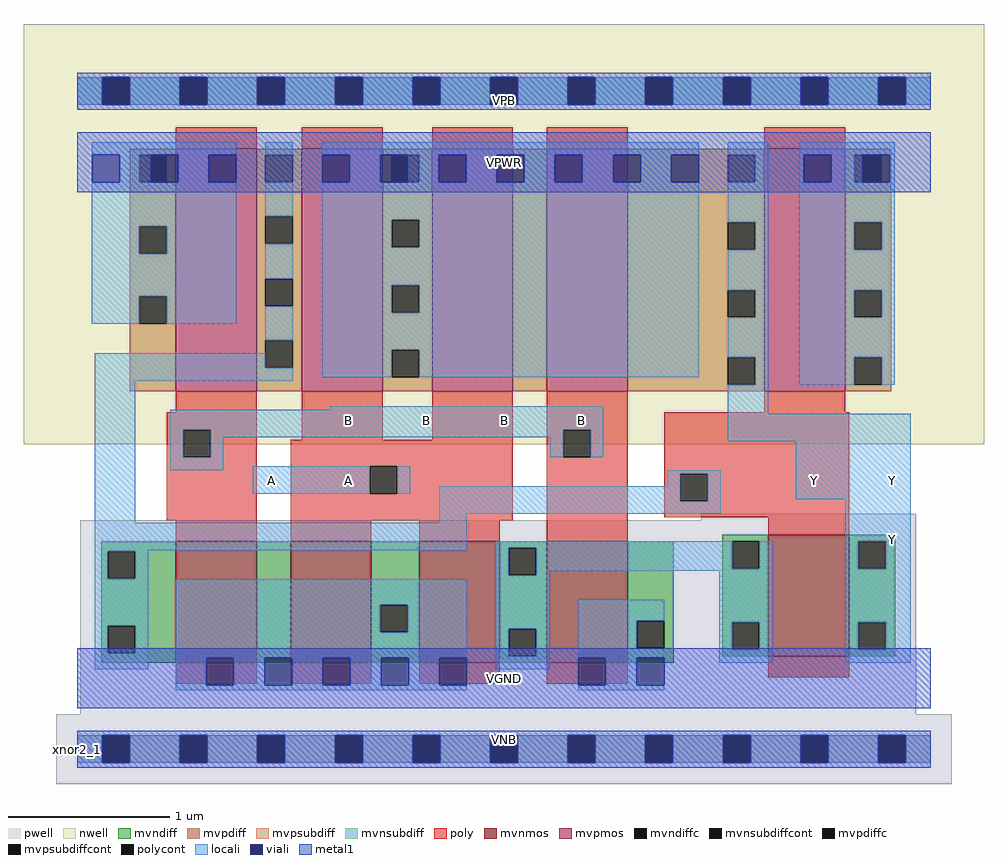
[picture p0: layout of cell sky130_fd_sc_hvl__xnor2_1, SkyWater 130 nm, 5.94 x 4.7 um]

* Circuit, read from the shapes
.subckt sky130_fd_sc_hvl__xnor2_1 A B VGND VNB VPB VPWR Y
XM1 n1 B n2 VNB sky130_fd_pr__nfet_g5v0d10v5 w=0.75 l=0.5
XM2 VGND A n1 VNB sky130_fd_pr__nfet_g5v0d10v5 w=0.75 l=0.5
XM3 n3 A VGND VNB sky130_fd_pr__nfet_g5v0d10v5 w=0.75 l=0.5
XM4 VGND B n3 VNB sky130_fd_pr__nfet_g5v0d10v5 w=0.75 l=0.5
XM5 Y n2 n3 VNB sky130_fd_pr__nfet_g5v0d10v5 w=0.75 l=0.5
XM6 n2 B VPWR VPB sky130_fd_pr__pfet_g5v0d10v5 w=1.5 l=0.5
XM7 VPWR A n2 VPB sky130_fd_pr__pfet_g5v0d10v5 w=1.5 l=0.5
XM8 n4 A VPWR VPB sky130_fd_pr__pfet_g5v0d10v5 w=1.5 l=0.5
XM9 Y B n4 VPB sky130_fd_pr__pfet_g5v0d10v5 w=1.5 l=0.5
XM10 VPWR n2 Y VPB sky130_fd_pr__pfet_g5v0d10v5 w=1.5 l=0.5
.ends

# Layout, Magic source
magic
tech sky130A
magscale 1 2
<< nwell >>
rect -66 377 1122 897
<< pwell >>
rect 772 283 1038 291
rect 4 43 1038 283
rect -26 -43 1082 43
<< mvnmos >>
rect 122 107 222 257
rect 264 107 364 257
rect 423 107 523 257
rect 581 107 681 257
rect 855 115 955 265
<< mvpmos >>
rect 122 443 222 743
rect 278 443 378 743
rect 439 443 539 743
rect 581 443 681 743
rect 850 443 950 743
<< mvndiff >>
rect 798 257 855 265
rect 30 245 122 257
rect 30 211 38 245
rect 72 211 122 245
rect 30 153 122 211
rect 30 119 38 153
rect 72 119 122 153
rect 30 107 122 119
rect 222 107 264 257
rect 364 179 423 257
rect 364 145 375 179
rect 409 145 423 179
rect 364 107 423 145
rect 523 249 581 257
rect 523 215 534 249
rect 568 215 581 249
rect 523 149 581 215
rect 523 115 534 149
rect 568 115 581 149
rect 523 107 581 115
rect 681 159 738 257
rect 681 125 692 159
rect 726 125 738 159
rect 681 107 738 125
rect 798 223 810 257
rect 844 223 855 257
rect 798 157 855 223
rect 798 123 810 157
rect 844 123 855 157
rect 798 115 855 123
rect 955 257 1012 265
rect 955 223 966 257
rect 1000 223 1012 257
rect 955 157 1012 223
rect 955 123 966 157
rect 1000 123 1012 157
rect 955 115 1012 123
<< mvpdiff >>
rect 65 735 122 743
rect 65 701 77 735
rect 111 701 122 735
rect 65 647 122 701
rect 65 613 77 647
rect 111 613 122 647
rect 65 560 122 613
rect 65 526 77 560
rect 111 526 122 560
rect 65 443 122 526
rect 222 735 278 743
rect 222 701 233 735
rect 267 701 278 735
rect 222 659 278 701
rect 222 625 233 659
rect 267 625 278 659
rect 222 582 278 625
rect 222 548 233 582
rect 267 548 278 582
rect 222 506 278 548
rect 222 472 233 506
rect 267 472 278 506
rect 222 443 278 472
rect 378 735 439 743
rect 378 701 389 735
rect 423 701 439 735
rect 378 655 439 701
rect 378 621 389 655
rect 423 621 439 655
rect 378 574 439 621
rect 378 540 389 574
rect 423 540 439 574
rect 378 494 439 540
rect 378 460 389 494
rect 423 460 439 494
rect 378 443 439 460
rect 539 443 581 743
rect 681 735 850 743
rect 681 701 805 735
rect 839 701 850 735
rect 681 652 850 701
rect 681 618 805 652
rect 839 618 850 652
rect 681 568 850 618
rect 681 534 805 568
rect 839 534 850 568
rect 681 485 850 534
rect 681 451 805 485
rect 839 451 850 485
rect 681 443 850 451
rect 950 735 1007 743
rect 950 701 961 735
rect 995 701 1007 735
rect 950 652 1007 701
rect 950 618 961 652
rect 995 618 1007 652
rect 950 568 1007 618
rect 950 534 961 568
rect 995 534 1007 568
rect 950 485 1007 534
rect 950 451 961 485
rect 995 451 1007 485
rect 950 443 1007 451
<< mvndiffc >>
rect 38 211 72 245
rect 38 119 72 153
rect 375 145 409 179
rect 534 215 568 249
rect 534 115 568 149
rect 692 125 726 159
rect 810 223 844 257
rect 810 123 844 157
rect 966 223 1000 257
rect 966 123 1000 157
<< mvpdiffc >>
rect 77 701 111 735
rect 77 613 111 647
rect 77 526 111 560
rect 233 701 267 735
rect 233 625 267 659
rect 233 548 267 582
rect 233 472 267 506
rect 389 701 423 735
rect 389 621 423 655
rect 389 540 423 574
rect 389 460 423 494
rect 805 701 839 735
rect 805 618 839 652
rect 805 534 839 568
rect 805 451 839 485
rect 961 701 995 735
rect 961 618 995 652
rect 961 534 995 568
rect 961 451 995 485
<< mvpsubdiff >>
rect 0 -17 31 17
rect 65 -17 127 17
rect 161 -17 223 17
rect 257 -17 319 17
rect 353 -17 415 17
rect 449 -17 511 17
rect 545 -17 607 17
rect 641 -17 703 17
rect 737 -17 799 17
rect 833 -17 895 17
rect 929 -17 991 17
rect 1025 -17 1056 17
<< mvnsubdiff >>
rect 0 797 31 831
rect 65 797 127 831
rect 161 797 223 831
rect 257 797 319 831
rect 353 797 415 831
rect 449 797 511 831
rect 545 797 607 831
rect 641 797 703 831
rect 737 797 799 831
rect 833 797 895 831
rect 929 797 991 831
rect 1025 797 1056 831
<< mvpsubdiffcont >>
rect 31 -17 65 17
rect 127 -17 161 17
rect 223 -17 257 17
rect 319 -17 353 17
rect 415 -17 449 17
rect 511 -17 545 17
rect 607 -17 641 17
rect 703 -17 737 17
rect 799 -17 833 17
rect 895 -17 929 17
rect 991 -17 1025 17
<< mvnsubdiffcont >>
rect 31 797 65 831
rect 127 797 161 831
rect 223 797 257 831
rect 319 797 353 831
rect 415 797 449 831
rect 511 797 545 831
rect 607 797 641 831
rect 703 797 737 831
rect 799 797 833 831
rect 895 797 929 831
rect 991 797 1025 831
<< poly >>
rect 122 743 222 769
rect 278 743 378 769
rect 439 743 539 769
rect 581 743 681 769
rect 850 743 950 769
rect 122 417 222 443
rect 111 395 222 417
rect 111 361 131 395
rect 165 361 222 395
rect 278 383 378 443
rect 439 383 539 443
rect 111 283 222 361
rect 122 257 222 283
rect 264 350 539 383
rect 264 316 362 350
rect 396 316 539 350
rect 264 283 539 316
rect 581 395 681 443
rect 850 417 950 443
rect 581 361 601 395
rect 635 361 681 395
rect 264 257 364 283
rect 423 257 523 283
rect 581 257 681 361
rect 726 341 955 417
rect 726 307 746 341
rect 780 307 955 341
rect 726 287 955 307
rect 855 265 955 287
rect 122 81 222 107
rect 264 81 364 107
rect 423 81 523 107
rect 581 81 681 107
rect 855 89 955 115
<< polycont >>
rect 131 361 165 395
rect 362 316 396 350
rect 601 361 635 395
rect 746 307 780 341
<< locali >>
rect 0 797 31 831
rect 65 797 127 831
rect 161 797 223 831
rect 257 797 319 831
rect 353 797 415 831
rect 449 797 511 831
rect 545 797 607 831
rect 641 797 703 831
rect 737 797 799 831
rect 833 797 895 831
rect 929 797 991 831
rect 1025 797 1056 831
rect 18 735 197 751
rect 18 701 19 735
rect 53 701 77 735
rect 125 701 163 735
rect 18 647 197 701
rect 18 613 77 647
rect 111 613 197 647
rect 18 560 197 613
rect 18 526 77 560
rect 111 526 197 560
rect 233 735 267 751
rect 233 659 267 701
rect 233 582 267 625
rect 233 506 267 548
rect 22 472 233 490
rect 22 456 267 472
rect 303 735 769 751
rect 337 701 375 735
rect 423 701 447 735
rect 481 701 519 735
rect 553 701 591 735
rect 625 701 663 735
rect 697 701 735 735
rect 303 655 769 701
rect 303 621 389 655
rect 423 621 769 655
rect 303 574 769 621
rect 303 540 389 574
rect 423 540 769 574
rect 303 494 769 540
rect 303 460 389 494
rect 423 460 769 494
rect 805 735 855 751
rect 839 701 855 735
rect 805 652 855 701
rect 839 618 855 652
rect 805 568 855 618
rect 839 534 855 568
rect 805 485 855 534
rect 22 280 72 456
rect 839 451 855 485
rect 893 735 1011 751
rect 893 701 899 735
rect 933 701 961 735
rect 1005 701 1011 735
rect 893 652 1011 701
rect 893 618 961 652
rect 995 618 1011 652
rect 893 568 1011 618
rect 893 534 961 568
rect 995 534 1011 568
rect 893 485 1011 534
rect 893 451 961 485
rect 995 451 1011 485
rect 313 420 651 424
rect 115 395 651 420
rect 115 361 131 395
rect 165 386 601 395
rect 165 361 181 386
rect 585 361 601 386
rect 635 361 651 395
rect 805 415 855 451
rect 805 381 1031 415
rect 115 345 181 361
rect 217 316 362 350
rect 396 316 412 350
rect 730 341 796 345
rect 730 325 746 341
rect 448 307 746 325
rect 780 307 796 341
rect 889 309 1031 381
rect 448 291 796 307
rect 448 280 482 291
rect 22 246 482 280
rect 950 257 1031 309
rect 518 249 810 257
rect 22 245 88 246
rect 22 211 38 245
rect 72 211 88 245
rect 22 153 88 211
rect 518 215 534 249
rect 568 223 810 249
rect 844 223 860 257
rect 568 221 860 223
rect 568 215 584 221
rect 22 119 38 153
rect 72 119 88 153
rect 22 99 88 119
rect 122 179 482 210
rect 122 145 375 179
rect 409 145 482 179
rect 122 113 482 145
rect 122 79 160 113
rect 194 79 232 113
rect 266 79 304 113
rect 338 79 376 113
rect 410 79 448 113
rect 518 149 584 215
rect 518 115 534 149
rect 568 115 584 149
rect 518 99 584 115
rect 620 159 726 185
rect 620 125 692 159
rect 620 113 726 125
rect 122 73 482 79
rect 654 79 692 113
rect 794 157 860 221
rect 794 123 810 157
rect 844 123 860 157
rect 794 107 860 123
rect 950 223 966 257
rect 1000 223 1031 257
rect 950 157 1031 223
rect 950 123 966 157
rect 1000 123 1031 157
rect 950 107 1031 123
rect 620 73 726 79
rect 0 -17 31 17
rect 65 -17 127 17
rect 161 -17 223 17
rect 257 -17 319 17
rect 353 -17 415 17
rect 449 -17 511 17
rect 545 -17 607 17
rect 641 -17 703 17
rect 737 -17 799 17
rect 833 -17 895 17
rect 929 -17 991 17
rect 1025 -17 1056 17
<< viali >>
rect 31 797 65 831
rect 127 797 161 831
rect 223 797 257 831
rect 319 797 353 831
rect 415 797 449 831
rect 511 797 545 831
rect 607 797 641 831
rect 703 797 737 831
rect 799 797 833 831
rect 895 797 929 831
rect 991 797 1025 831
rect 19 701 53 735
rect 91 701 111 735
rect 111 701 125 735
rect 163 701 197 735
rect 303 701 337 735
rect 375 701 389 735
rect 389 701 409 735
rect 447 701 481 735
rect 519 701 553 735
rect 591 701 625 735
rect 663 701 697 735
rect 735 701 769 735
rect 899 701 933 735
rect 971 701 995 735
rect 995 701 1005 735
rect 160 79 194 113
rect 232 79 266 113
rect 304 79 338 113
rect 376 79 410 113
rect 448 79 482 113
rect 620 79 654 113
rect 692 79 726 113
rect 31 -17 65 17
rect 127 -17 161 17
rect 223 -17 257 17
rect 319 -17 353 17
rect 415 -17 449 17
rect 511 -17 545 17
rect 607 -17 641 17
rect 703 -17 737 17
rect 799 -17 833 17
rect 895 -17 929 17
rect 991 -17 1025 17
<< metal1 >>
rect 0 831 1056 837
rect 0 797 31 831
rect 65 797 127 831
rect 161 797 223 831
rect 257 797 319 831
rect 353 797 415 831
rect 449 797 511 831
rect 545 797 607 831
rect 641 797 703 831
rect 737 797 799 831
rect 833 797 895 831
rect 929 797 991 831
rect 1025 797 1056 831
rect 0 791 1056 797
rect 0 735 1056 763
rect 0 701 19 735
rect 53 701 91 735
rect 125 701 163 735
rect 197 701 303 735
rect 337 701 375 735
rect 409 701 447 735
rect 481 701 519 735
rect 553 701 591 735
rect 625 701 663 735
rect 697 701 735 735
rect 769 701 899 735
rect 933 701 971 735
rect 1005 701 1056 735
rect 0 689 1056 701
rect 0 113 1056 125
rect 0 79 160 113
rect 194 79 232 113
rect 266 79 304 113
rect 338 79 376 113
rect 410 79 448 113
rect 482 79 620 113
rect 654 79 692 113
rect 726 79 1056 113
rect 0 51 1056 79
rect 0 17 1056 23
rect 0 -17 31 17
rect 65 -17 127 17
rect 161 -17 223 17
rect 257 -17 319 17
rect 353 -17 415 17
rect 449 -17 511 17
rect 545 -17 607 17
rect 641 -17 703 17
rect 737 -17 799 17
rect 833 -17 895 17
rect 929 -17 991 17
rect 1025 -17 1056 17
rect 0 -23 1056 -17
<< labels >>
rlabel comment s 0 0 0 0 4 xnor2_1
flabel metal1 s 0 51 1056 125 0 FreeSans 340 0 0 0 VGND
port 3 nsew ground bidirectional
flabel metal1 s 0 0 1056 23 0 FreeSans 340 0 0 0 VNB
port 4 nsew ground bidirectional
flabel metal1 s 0 689 1056 763 0 FreeSans 340 0 0 0 VPWR
port 6 nsew power bidirectional
flabel metal1 s 0 791 1056 814 0 FreeSans 340 0 0 0 VPB
port 5 nsew power bidirectional
flabel locali s 223 316 257 350 0 FreeSans 340 0 0 0 A
port 1 nsew signal input
flabel locali s 319 316 353 350 0 FreeSans 340 0 0 0 A
port 1 nsew signal input
flabel locali s 319 390 353 424 0 FreeSans 340 0 0 0 B
port 2 nsew signal input
flabel locali s 415 390 449 424 0 FreeSans 340 0 0 0 B
port 2 nsew signal input
flabel locali s 511 390 545 424 0 FreeSans 340 0 0 0 B
port 2 nsew signal input
flabel locali s 607 390 641 424 0 FreeSans 340 0 0 0 B
port 2 nsew signal input
flabel locali s 895 316 929 350 0 FreeSans 340 0 0 0 Y
port 7 nsew signal output
flabel locali s 991 316 1025 350 0 FreeSans 340 0 0 0 Y
port 7 nsew signal output
flabel locali s 991 242 1025 276 0 FreeSans 340 0 0 0 Y
port 7 nsew signal output
<< properties >>
string FIXED_BBOX 0 0 1056 814
string GDS_END 731298
string GDS_FILE $PDKPATH/libs.ref/sky130_fd_sc_hvl/gds/sky130_fd_sc_hvl.gds
string GDS_START 719110
string LEFclass CORE
string LEFsite unithv
string LEFsymmetry X Y
<< end >>
